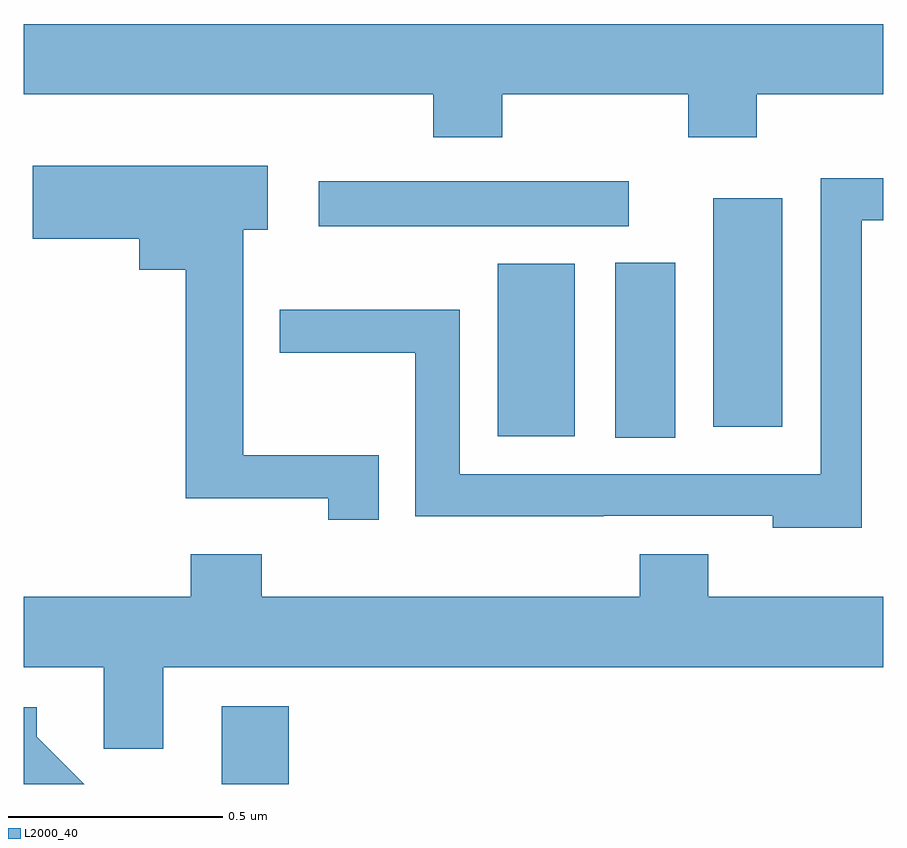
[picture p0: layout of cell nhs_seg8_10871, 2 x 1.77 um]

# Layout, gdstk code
import gdstk
lib = gdstk.Library(unit=1e-6, precision=1e-09)
def R(c, l, rs):  # rectangles x0, y0, x1, y1
    for r in rs: c.add(gdstk.rectangle(r[:2], r[2:], *l))
def P(c, l, *ps):  # polygons
    for p in ps: c.add(gdstk.Polygon(p, *l))
L2000_40 = (2000, 40)

nhs_seg8_10871 = lib.new_cell('nhs_seg8_10871')
R(nhs_seg8_10871, L2000_40, [(255.461,1110.9,255.617,1111.081), (256.376,1111.705,256.516,1112.113), (256.103,1111.709,256.282,1112.11), (256.604,1111.731,256.765,1112.263), (255.687,1112.198,256.408,1112.302)])
P(nhs_seg8_10871, L2000_40, [(256.113,1112.504),(256.546,1112.504),(256.546,1112.405),(256.706,1112.405),(256.706,1112.504),(257,1112.504),(257,1112.668),(255,1112.668),(255,1112.504),(255.953,1112.504),(255.953,1112.405),(256.113,1112.405)],
  [(255.826,1111.665),(255.511,1111.665),(255.511,1112.189),(255.568,1112.189),(255.568,1112.338),(255.021,1112.338),(255.021,1112.168),(255.269,1112.168),(255.269,1112.096),(255.377,1112.096),(255.377,1111.565),(255.709,1111.565),(255.709,1111.515),(255.826,1111.515)],
  [(256.95,1112.211),(257,1112.211),(257,1112.309),(256.854,1112.309),(256.854,1111.62),(256.015,1111.62),(256.015,1112.003),(255.596,1112.003),(255.596,1111.903),(255.911,1111.903),(255.911,1111.523),(256.349,1111.523),(256.349,1111.524),(256.743,1111.524),(256.743,1111.496),(256.95,1111.496)],
  [(255.325,1111.172),(257,1111.172),(257,1111.336),(256.593,1111.336),(256.593,1111.435),(256.433,1111.435),(256.433,1111.336),(255.554,1111.336),(255.554,1111.435),(255.389,1111.435),(255.389,1111.336),(255,1111.336),(255,1111.172),(255.186,1111.172),(255.186,1110.982),(255.325,1110.982)],
  [(255.031,1111.01),(255.031,1111.078),(255,1111.078),(255,1110.9),(255.141,1110.9)])

lib.write_gds('nhs_seg8_10871.gds')
